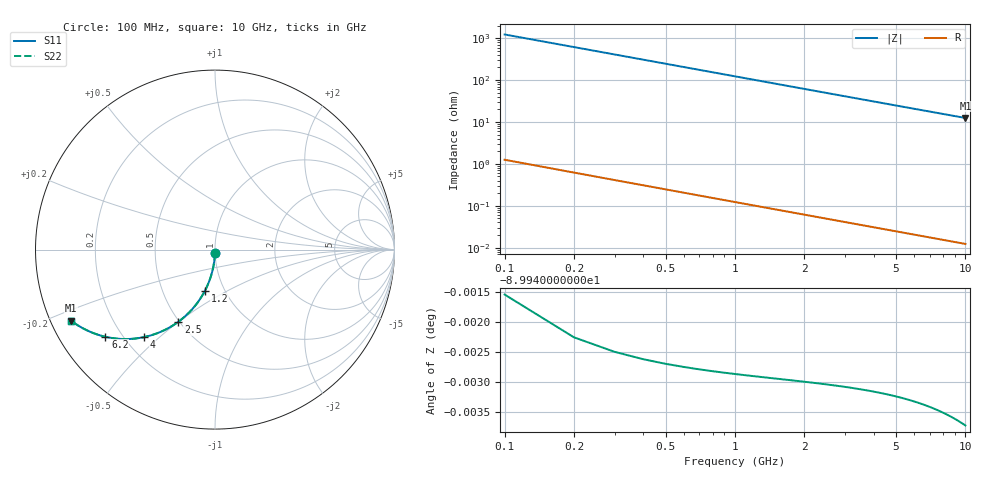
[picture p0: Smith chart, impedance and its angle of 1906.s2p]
# Hz S RI R 50.00
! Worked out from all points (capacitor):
!   100 points, 100 MHz to 10 GHz, reference 50 ohm
!   read as one part in shunt: C = 1.3 pF near 100 MHz
!   lowest |Z| = 12.5 ohm at 10 GHz (marker M1)
!   S11 on the Smith chart (normalised r, x): 100 MHz: 1.00, -0.04; 1.2 GHz: 0.81, -0.39; 2.5 GHz: 0.49, -0.50; 4 GHz: 0.28, -0.45; 6.2 GHz: 0.14, -0.34; 10 GHz: 0.06, -0.23
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1e8  -0.000427 -0.0203  0.9996 -0.0204  0.9996 -0.0204  -0.000427 -0.0203
2e8  -0.00169 -0.0406  0.9983 -0.0407  0.9983 -0.0407  -0.00169 -0.0406
3e8  -0.00376 -0.0607  0.9962 -0.0609  0.9962 -0.0609  -0.00376 -0.0607
4e8  -0.00665 -0.0807  0.9933 -0.0809  0.9933 -0.0809  -0.00665 -0.0807
5e8  -0.0103 -0.1005  0.9897 -0.1008  0.9897 -0.1008  -0.0103 -0.1005
6e8  -0.0148 -0.1201  0.9852 -0.1204  0.9852 -0.1204  -0.0148 -0.1201
7e8  -0.02 -0.1393  0.98 -0.1397  0.98 -0.1397  -0.02 -0.1393
9e8  -0.0326 -0.1768  0.9674 -0.1772  0.9674 -0.1772  -0.0326 -0.1768
1.2e9  -0.0564 -0.2299  0.9436 -0.2304  0.9436 -0.2304  -0.0564 -0.2299
1.5e9  -0.0853 -0.2784  0.9147 -0.2791  0.9147 -0.2791  -0.0853 -0.2784
1.8e9  -0.1182 -0.3219  0.8818 -0.3228  0.8818 -0.3228  -0.1182 -0.3219
2.1e9  -0.1542 -0.3601  0.8458 -0.3611  0.8458 -0.3611  -0.1542 -0.3601
2.5e9  -0.205 -0.4026  0.795 -0.4038  0.795 -0.4038  -0.205 -0.4026
2.9e9  -0.2574 -0.436  0.7426 -0.4374  0.7426 -0.4374  -0.2574 -0.436
3.4e9  -0.3223 -0.4661  0.6777 -0.4677  0.6777 -0.4677  -0.3223 -0.4661
4e9  -0.3965 -0.4877  0.6035 -0.4896  0.6035 -0.4896  -0.3965 -0.4877
5.1e9  -0.5156 -0.498  0.4844 -0.5005  0.4844 -0.5005  -0.5156 -0.498
6.2e9  -0.6107 -0.4856  0.3893 -0.4886  0.3893 -0.4886  -0.6107 -0.4856
6.7e9  -0.6466 -0.4759  0.3534 -0.4791  0.3534 -0.4791  -0.6466 -0.4759
7.5e9  -0.6959 -0.4577  0.3041 -0.4613  0.3041 -0.4613  -0.6959 -0.4577
8.4e9  -0.7413 -0.4354  0.2587 -0.4394  0.2587 -0.4394  -0.7413 -0.4354
1e10  -0.802 -0.3956  0.198 -0.4004  0.198 -0.4004  -0.802 -0.3956
